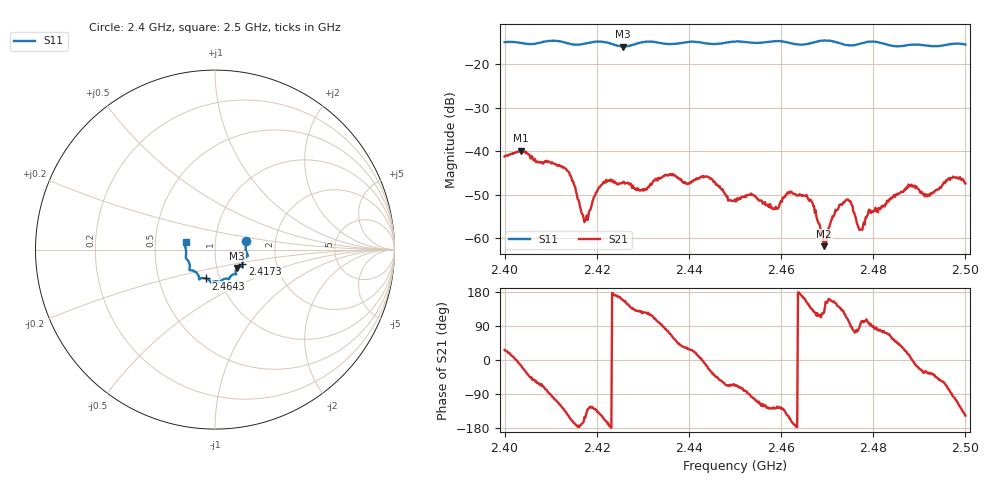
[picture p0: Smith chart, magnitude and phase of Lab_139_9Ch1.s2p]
# Hz S RI R 50
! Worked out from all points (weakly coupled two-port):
!   601 points, 2.4 GHz to 2.5 GHz, reference 50 ohm
!   highest |S21| = -39.92 dB at 2.4035 GHz (marker M1); lowest = -61.9 dB at 2.4693 GHz (marker M2)
!   lowest |S11| = -15.9 dB at 2.4257 GHz (marker M3), VSWR 1.38, Z = 62.5 - j13.1 ohm
!   |S11| at or under -10 dB: start of sweep to end of sweep
!   S12 and S22 are empty: the file has one direction only
!   S11 on the Smith chart (normalised r, x): 2.4 GHz: 1.41, +0.14; 2.4173 GHz: 1.34, -0.23; 2.4643 GHz: 0.86, -0.28; 2.5 GHz: 0.72, +0.06
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2.4e9  0.173 0.0488  0.00775 0.0039  0 0  0 0
2.4035e9  0.1738 0.0305  0.0098 -0.00241  0 0  0 0
2.4135e9  0.1699 -0.0438  -0.00472 -0.00379  0 0  0 0
2.416667e9  0.1528 -0.0743  -0.00193 -0.000373  0 0  0 0
2.417333e9  0.152 -0.0817  -0.00133 -0.000752  0 0  0 0
2.4215e9  0.1533 -0.0963  -0.00401 -0.00188  0 0  0 0
2.425667e9  0.1229 -0.1023  -0.00405 0.00167  0 0  0 0
2.429833e9  0.1168 -0.1359  -0.00194 0.00297  0 0  0 0
2.433333e9  0.1127 -0.1372  -0.000894 0.00483  0 0  0 0
2.444e9  0.0633 -0.161  0.00484 -0.00157  0 0  0 0
2.45e9  0.0286 -0.1808  0.00105 -0.00258  0 0  0 0
2.458833e9  -0.0216 -0.1837  -0.00136 -0.00185  0 0  0 0
2.464333e9  -0.0499 -0.1607  -0.00308 0.000452  0 0  0 0
2.466667e9  -0.0761 -0.1591  -0.00181 0.00189  0 0  0 0
2.469333e9  -0.0882 -0.166  -0.000461 0.000661  0 0  0 0
2.474e9  -0.0976 -0.1362  -0.00122 0.00243  0 0  0 0
2.477167e9  -0.128 -0.1159  -5.49e-05 0.00125  0 0  0 0
2.483333e9  -0.1405 -0.0898  0.00101 0.00244  0 0  0 0
2.488e9  -0.16 -0.0502  0.00398 0.000569  0 0  0 0
2.491667e9  -0.1615 -0.029  0.00252 -0.00166  0 0  0 0
2.496833e9  -0.169 0.0261  0.00027 -0.00486  0 0  0 0
2.5e9  -0.1636 0.0423  -0.00355 -0.00232  0 0  0 0
